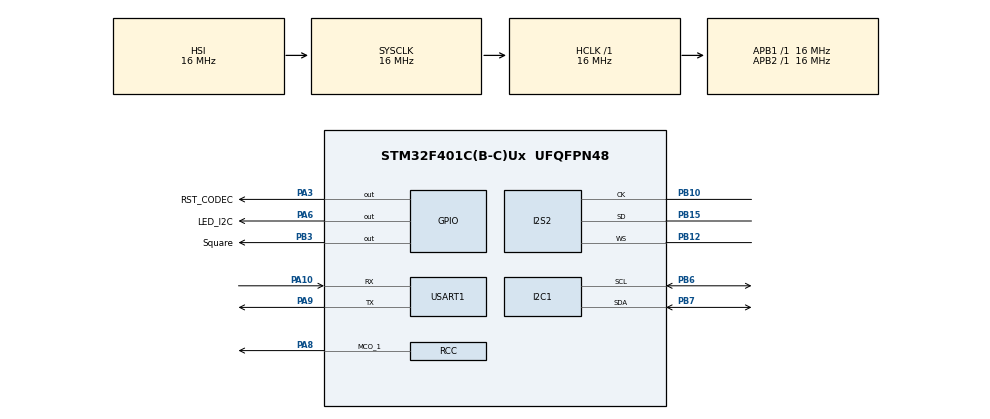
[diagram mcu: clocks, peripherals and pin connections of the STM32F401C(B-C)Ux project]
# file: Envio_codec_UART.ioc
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Dma.Request0=SPI2_RX
Dma.SPI2_RX.0.Direction=DMA_PERIPH_TO_MEMORY
Dma.SPI2_RX.0.FIFOMode=DMA_FIFOMODE_DISABLE
Dma.SPI2_RX.0.Instance=DMA1_Stream3
Dma.SPI2_RX.0.MemDataAlignment=DMA_MDATAALIGN_HALFWORD
Dma.SPI2_RX.0.MemInc=DMA_MINC_ENABLE
Dma.SPI2_RX.0.Mode=DMA_CIRCULAR
Dma.SPI2_RX.0.PeriphDataAlignment=DMA_PDATAALIGN_HALFWORD
Dma.SPI2_RX.0.PeriphInc=DMA_PINC_DISABLE
Dma.SPI2_RX.0.Priority=DMA_PRIORITY_LOW
I2S2.AudioFreq=I2S_AUDIOFREQ_96K
I2S2.DataFormat=I2S_DATAFORMAT_24B
I2S2.ErrorAudioFreq=-2.34 %
I2S2.FullDuplexMode=I2S_FULLDUPLEXMODE_DISABLE
I2S2.Instance=SPI$Index
I2S2.Mode=I2S_MODE_SLAVE_RX
I2S2.RealAudioFreq=93.75 KHz
I2S2.VirtualMode=I2S_MODE_SLAVE
Mcu.Family=STM32F4
Mcu.Name=STM32F401C(B-C)Ux
Mcu.Package=UFQFPN48
NVIC.DMA1_Stream3_IRQn=true\:0\:0\:false\:false\:true\:false\:true\:true
NVIC.PriorityGroup=NVIC_PRIORITYGROUP_4
NVIC.TIM3_IRQn=true\:0\:0\:false\:false\:true\:true\:true\:true
NVIC.USART1_IRQn=true\:0\:0\:false\:false\:true\:true\:true\:true
PA10.Mode=Asynchronous
PA10.Signal=USART1_RX
PA13.Mode=Serial_Wire
PA13.Signal=SYS_JTMS-SWDIO
PA14.Mode=Serial_Wire
PA14.Signal=SYS_JTCK-SWCLK
PA3.GPIO_Label=RST_CODEC
PA3.PinState=GPIO_PIN_SET
PA3.Signal=GPIO_Output
PA6.GPIO_Label=LED_I2C
PA6.Signal=GPIO_Output
PA8.GPIO_Speed=GPIO_SPEED_FREQ_VERY_HIGH
PA8.Mode=Clock-out-1
PA8.Signal=RCC_MCO_1
PA9.Mode=Asynchronous
PA9.Signal=USART1_TX
PB10.Mode=Half_Duplex_Slave
PB10.Signal=I2S2_CK
PB12.Mode=Half_Duplex_Slave
PB12.Signal=I2S2_WS
PB15.Mode=Half_Duplex_Slave
PB15.Signal=I2S2_SD
PB3.GPIO_Label=Square
PB3.Signal=GPIO_Output
PB6.Mode=I2C
PB6.Signal=I2C1_SCL
PB7.Mode=I2C
PB7.Signal=I2C1_SDA
ProjectManager.HeapSize=0x200
ProjectManager.StackSize=0x400
ProjectManager.TargetToolchain=STM32CubeIDE
RCC.AHBFreq_Value=16000000
RCC.APB1Freq_Value=16000000
RCC.APB2Freq_Value=16000000
RCC.CortexFreq_Value=16000000
RCC.HSE_VALUE=25000000
RCC.HSI_VALUE=16000000
RCC.LSE_VALUE=32768
RCC.PLLP=RCC_PLLP_DIV4
RCC.RCC_MCO1Source=RCC_MCO1SOURCE_PLLCLK
RCC.RCC_MCODiv1=RCC_MCODIV_2
RCC.SYSCLKFreq_VALUE=16000000
RCC.VCOOutputFreq_Value=192000000
TIM3.Period=1000-1
TIM3.Prescaler=8-1
USART1.VirtualMode=VM_ASYNC
VP_TIM3_VS_ClockSourceINT.Mode=Internal
board=custom

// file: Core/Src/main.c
/* USER CODE BEGIN Header */
/**
  ******************************************************************************
  * @file           : main.c
  * @brief          : Main program body
  ******************************************************************************
  * @attention
  *
  * Copyright (c) 2026 STMicroelectronics.
  * All rights reserved.
  *
  * This software is licensed under terms that can be found in the LICENSE file
  * in the root directory of this software component.
  * If no LICENSE file comes with this software, it is provided AS-IS.
  *
  ******************************************************************************
  */
/* USER CODE END Header */
#include "main.h"

/* USER CODE BEGIN Includes */
#include "string.h"
#include "stdio.h"
/* USER CODE END Includes */

/* USER CODE BEGIN PD */
#define CODEC_I2C_ADDRESS 0x46 << 1

#define I2S_SAMPLES 1024 // 512 L + 512 R

/* USER CODE END PD */

I2C_HandleTypeDef hi2c1;

I2S_HandleTypeDef hi2s2;
DMA_HandleTypeDef hdma_spi2_rx;

TIM_HandleTypeDef htim3;

UART_HandleTypeDef huart1;

/* USER CODE BEGIN PV */
// El DMA pedirá 2048 transferencias de 16 bits internamente.
uint16_t buffer_i2s_rx[I2S_SAMPLES * 2];

// Buffer de 32 bits procesado para imprimir
int32_t buff_dma[I2S_SAMPLES / 2];

volatile uint8_t flag_half_complete = 0;
volatile uint8_t flag_recept = 0;
uint8_t caracter;

/* USER CODE END PV */

void SystemClock_Config(void);
static void MX_GPIO_Init(void);
static void MX_DMA_Init(void);
static void MX_I2C1_Init(void);
static void MX_I2S2_Init(void);
static void MX_USART1_UART_Init(void);
static void MX_TIM3_Init(void);
/* USER CODE BEGIN PFP */
void PCM3060_Init_Master(I2C_HandleTypeDef *hi2c);

/* USER CODE END PFP */

int main(void)
{

  /* MCU Configuration--------------------------------------------------------*/

  /* Reset of all peripherals, Initializes the Flash interface and the Systick. */
  HAL_Init();

  /* Configure the system clock */
  SystemClock_Config();

  /* Initialize all configured peripherals */
  MX_GPIO_Init();
  MX_DMA_Init();
  MX_I2C1_Init();
  MX_I2S2_Init();
  MX_USART1_UART_Init();
  MX_TIM3_Init();
  /* USER CODE BEGIN 2 */
  HAL_Delay(30);											// Demora mayora a 2048/fs para secuencia de inicio
  HAL_GPIO_WritePin(GPIOA, RST_CODEC_Pin, GPIO_PIN_SET);	//Pin RST alto
  HAL_Delay(30);
  PCM3060_Init_Master(&hi2c1);

  HAL_I2S_Receive_DMA(&hi2s2, (uint16_t*)buffer_i2s_rx, I2S_SAMPLES);
  HAL_UART_Receive_IT(&huart1, &caracter, 1);
  HAL_TIM_Base_Start_IT(&htim3);

  char package[30]={};
  uint8_t flag_sending=0;
  /* USER CODE END 2 */

  /* Infinite loop */
  /* USER CODE BEGIN WHILE */
  while (1)
  {
	  flag_sending=flag_recept;
	  if (flag_sending == 1)
	        {
		  	  	flag_sending=0;
		  		flag_recept=0;
	            uint8_t flag_local = flag_half_complete;

	            if(flag_local == 1 || flag_local == 2)
	            {
	                flag_half_complete = 0; // Limpiar flag global

	                // Copiar la mitad correspondiente
	                uint16_t offset = (flag_local == 1) ? 0 : I2S_SAMPLES;
	                for(uint16_t j = 0; j < (I2S_SAMPLES / 2); j++){

	                    // Extraer parte alta y baja (alta llega primero)
	                    uint16_t hw_msb = buffer_i2s_rx[offset + (j * 2)];
	                    uint16_t hw_lsb = buffer_i2s_rx[offset + (j * 2) + 1];

	                    // Unio nde parte alta y baja, queda alineado a la derecha
	                    int32_t sample = (int32_t)((hw_msb << 16) | hw_lsb );
	                    //buff_dma[j] = (int32_t)((hw_msb << 8) | hw_lsb >> 8);

	                    // Extender el signo
	                    buff_dma[j] = sample >> 8;
	                    }

	                for(uint16_t j=0; j<(I2S_SAMPLES / 2); j+=2){

	                	snprintf(package, sizeof(package), "%ld,%ld\r\n",buff_dma[j],buff_dma[j+1]);
	                	HAL_UART_Transmit(&huart1, (uint8_t*)package, strlen(package), HAL_MAX_DELAY);
	                }
	            }
	        }
    /* USER CODE END WHILE */

  }
}

void SystemClock_Config(void)
{
  RCC_OscInitTypeDef RCC_OscInitStruct = {0};
  RCC_ClkInitTypeDef RCC_ClkInitStruct = {0};

  /** Configure the main internal regulator output voltage
  */
  __HAL_RCC_PWR_CLK_ENABLE();
  __HAL_PWR_VOLTAGESCALING_CONFIG(PWR_REGULATOR_VOLTAGE_SCALE2);

  /** Initializes the RCC Oscillators according to the specified parameters
  * in the RCC_OscInitTypeDef structure.
  */
  RCC_OscInitStruct.OscillatorType = RCC_OSCILLATORTYPE_HSI;
  RCC_OscInitStruct.HSIState = RCC_HSI_ON;
  RCC_OscInitStruct.HSICalibrationValue = RCC_HSICALIBRATION_DEFAULT;
  RCC_OscInitStruct.PLL.PLLState = RCC_PLL_ON;
  RCC_OscInitStruct.PLL.PLLSource = RCC_PLLSOURCE_HSI;
  RCC_OscInitStruct.PLL.PLLM = 16;
  RCC_OscInitStruct.PLL.PLLN = 192;
  RCC_OscInitStruct.PLL.PLLP = RCC_PLLP_DIV4;
  RCC_OscInitStruct.PLL.PLLQ = 4;
  if (HAL_RCC_OscConfig(&RCC_OscInitStruct) != HAL_OK)
  {
    Error_Handler();
  }

  /** Initializes the CPU, AHB and APB buses clocks
  */
  RCC_ClkInitStruct.ClockType = RCC_CLOCKTYPE_HCLK|RCC_CLOCKTYPE_SYSCLK
                              |RCC_CLOCKTYPE_PCLK1|RCC_CLOCKTYPE_PCLK2;
  RCC_ClkInitStruct.SYSCLKSource = RCC_SYSCLKSOURCE_HSI;
  RCC_ClkInitStruct.AHBCLKDivider = RCC_SYSCLK_DIV1;
  RCC_ClkInitStruct.APB1CLKDivider = RCC_HCLK_DIV1;
  RCC_ClkInitStruct.APB2CLKDivider = RCC_HCLK_DIV1;

  if (HAL_RCC_ClockConfig(&RCC_ClkInitStruct, FLASH_LATENCY_0) != HAL_OK)
  {
    Error_Handler();
  }
  HAL_RCC_MCOConfig(RCC_MCO1, RCC_MCO1SOURCE_PLLCLK, RCC_MCODIV_2);
}

static void MX_I2C1_Init(void)
{

  hi2c1.Instance = I2C1;
  hi2c1.Init.ClockSpeed = 100000;
  hi2c1.Init.DutyCycle = I2C_DUTYCYCLE_2;
  hi2c1.Init.OwnAddress1 = 0;
  hi2c1.Init.AddressingMode = I2C_ADDRESSINGMODE_7BIT;
  hi2c1.Init.DualAddressMode = I2C_DUALADDRESS_DISABLE;
  hi2c1.Init.OwnAddress2 = 0;
  hi2c1.Init.GeneralCallMode = I2C_GENERALCALL_DISABLE;
  hi2c1.Init.NoStretchMode = I2C_NOSTRETCH_DISABLE;
  if (HAL_I2C_Init(&hi2c1) != HAL_OK)
  {
    Error_Handler();
  }

}

static void MX_I2S2_Init(void)
{

  hi2s2.Instance = SPI2;
  hi2s2.Init.Mode = I2S_MODE_SLAVE_RX;
  hi2s2.Init.Standard = I2S_STANDARD_PHILIPS;
  hi2s2.Init.DataFormat = I2S_DATAFORMAT_24B;
  hi2s2.Init.MCLKOutput = I2S_MCLKOUTPUT_DISABLE;
  hi2s2.Init.AudioFreq = I2S_AUDIOFREQ_96K;
  hi2s2.Init.CPOL = I2S_CPOL_LOW;
  hi2s2.Init.ClockSource = I2S_CLOCK_PLL;
  hi2s2.Init.FullDuplexMode = I2S_FULLDUPLEXMODE_DISABLE;
  if (HAL_I2S_Init(&hi2s2) != HAL_OK)
  {
    Error_Handler();
  }

}

static void MX_TIM3_Init(void)
{

  TIM_ClockConfigTypeDef sClockSourceConfig = {0};
  TIM_MasterConfigTypeDef sMasterConfig = {0};

  htim3.Instance = TIM3;
  htim3.Init.Prescaler = 8-1;
  htim3.Init.CounterMode = TIM_COUNTERMODE_UP;
  htim3.Init.Period = 1000-1;
  htim3.Init.ClockDivision = TIM_CLOCKDIVISION_DIV1;
  htim3.Init.AutoReloadPreload = TIM_AUTORELOAD_PRELOAD_DISABLE;
  if (HAL_TIM_Base_Init(&htim3) != HAL_OK)
  {
    Error_Handler();
  }
  sClockSourceConfig.ClockSource = TIM_CLOCKSOURCE_INTERNAL;
  if (HAL_TIM_ConfigClockSource(&htim3, &sClockSourceConfig) != HAL_OK)
  {
    Error_Handler();
  }
  sMasterConfig.MasterOutputTrigger = TIM_TRGO_RESET;
  sMasterConfig.MasterSlaveMode = TIM_MASTERSLAVEMODE_DISABLE;
  if (HAL_TIMEx_MasterConfigSynchronization(&htim3, &sMasterConfig) != HAL_OK)
  {
    Error_Handler();
  }

}

static void MX_USART1_UART_Init(void)
{

  huart1.Instance = USART1;
  huart1.Init.BaudRate = 115200;
  huart1.Init.WordLength = UART_WORDLENGTH_8B;
  huart1.Init.StopBits = UART_STOPBITS_1;
  huart1.Init.Parity = UART_PARITY_NONE;
  huart1.Init.Mode = UART_MODE_TX_RX;
  huart1.Init.HwFlowCtl = UART_HWCONTROL_NONE;
  huart1.Init.OverSampling = UART_OVERSAMPLING_16;
  if (HAL_UART_Init(&huart1) != HAL_OK)
  {
    Error_Handler();
  }

}

static void MX_DMA_Init(void)
{

  /* DMA controller clock enable */
  __HAL_RCC_DMA1_CLK_ENABLE();

  /* DMA interrupt init */
  /* DMA1_Stream3_IRQn interrupt configuration */
  HAL_NVIC_SetPriority(DMA1_Stream3_IRQn, 0, 0);
  HAL_NVIC_EnableIRQ(DMA1_Stream3_IRQn);

}

static void MX_GPIO_Init(void)
{
  GPIO_InitTypeDef GPIO_InitStruct = {0};

  /* GPIO Ports Clock Enable */
  __HAL_RCC_GPIOA_CLK_ENABLE();
  __HAL_RCC_GPIOB_CLK_ENABLE();

  /*Configure GPIO pin Output Level */
  HAL_GPIO_WritePin(RST_CODEC_GPIO_Port, RST_CODEC_Pin, GPIO_PIN_SET);

  /*Configure GPIO pin Output Level */
  HAL_GPIO_WritePin(LED_I2C_GPIO_Port, LED_I2C_Pin, GPIO_PIN_RESET);

  /*Configure GPIO pin Output Level */
  HAL_GPIO_WritePin(Square_GPIO_Port, Square_Pin, GPIO_PIN_RESET);

  /*Configure GPIO pins : RST_CODEC_Pin LED_I2C_Pin */
  GPIO_InitStruct.Pin = RST_CODEC_Pin|LED_I2C_Pin;
  GPIO_InitStruct.Mode = GPIO_MODE_OUTPUT_PP;
  GPIO_InitStruct.Pull = GPIO_NOPULL;
  GPIO_InitStruct.Speed = GPIO_SPEED_FREQ_LOW;
  HAL_GPIO_Init(GPIOA, &GPIO_InitStruct);

  /*Configure GPIO pin : PA8 */
  GPIO_InitStruct.Pin = GPIO_PIN_8;
  GPIO_InitStruct.Mode = GPIO_MODE_AF_PP;
  GPIO_InitStruct.Pull = GPIO_NOPULL;
  GPIO_InitStruct.Speed = GPIO_SPEED_FREQ_VERY_HIGH;
  GPIO_InitStruct.Alternate = GPIO_AF0_MCO;
  HAL_GPIO_Init(GPIOA, &GPIO_InitStruct);

  /*Configure GPIO pin : Square_Pin */
  GPIO_InitStruct.Pin = Square_Pin;
  GPIO_InitStruct.Mode = GPIO_MODE_OUTPUT_PP;
  GPIO_InitStruct.Pull = GPIO_NOPULL;
  GPIO_InitStruct.Speed = GPIO_SPEED_FREQ_LOW;
  HAL_GPIO_Init(Square_GPIO_Port, &GPIO_InitStruct);

}

/* USER CODE BEGIN 4 */

void HAL_UART_RxCpltCallback(UART_HandleTypeDef *huart){
	if(((char)caracter != '\r') && ((char)caracter != '\n')){
		switch((char)caracter){
		case('x'):
				flag_recept=1;
		break;
		default:
		}
	};
	HAL_UART_Receive_IT(&huart1, &caracter, 1);
}

void HAL_I2S_RxHalfCpltCallback(I2S_HandleTypeDef *hi2s) {
    flag_half_complete = 1;
}

void HAL_I2S_RxCpltCallback(I2S_HandleTypeDef *hi2s) {
    flag_half_complete = 2;
}

void PCM3060_Init_Master(I2C_HandleTypeDef *hi2c) {
    uint8_t data[2];

    // Pequeña pausa para asegurar que el codec estabilizó sus fuentes internas tras el encendido
    HAL_Delay(10);

    // --- PASO 1: Despertar el ADC (Registro 64 / 0x40) ---
    // Bits: [MRST=1][SRST=1][ADPSV=0 (Normal)][DAPSV=1 (DAC apagado)][S/E=0]
    data[0] = 0x40; // Dirección de registro
    data[1] = 0xD0; // Datos
    HAL_I2C_Master_Transmit(hi2c, CODEC_I2C_ADDRESS, data, 2, HAL_MAX_DELAY);

    // --- PASO 2: Configurar ADC como Maestro 256fs (Registro 72 / 0x48) ---
    // Bits: [CSEL1=0][M/S 1[2:0] = 100 (Master 256fs)][FMT1[1:0] = 00 (I2S 24-bit)] -> Valor binario: 01000000b = 0x40
    data[0] = 0x48; // Dirección de registro
    data[1] = 0x40; // Datos
    HAL_I2C_Master_Transmit(hi2c, CODEC_I2C_ADDRESS, data, 2, HAL_MAX_DELAY);
    if (HAL_I2C_Master_Transmit(&hi2c1, CODEC_I2C_ADDRESS, data, 2, 100) != HAL_OK) {
        // Si entra aquí, el I2C falló. Enciende un LED o pon un breakpoint.
        HAL_GPIO_WritePin(GPIOA, GPIO_PIN_6, GPIO_PIN_SET);
    }
}

void HAL_TIM_PeriodElapsedCallback(TIM_HandleTypeDef *htim){
	if(htim->Instance==TIM3)HAL_GPIO_TogglePin(Square_GPIO_Port, Square_Pin);
}

/* USER CODE END 4 */

void Error_Handler(void)
{
  __disable_irq();
  while (1)
  {
  }
}
